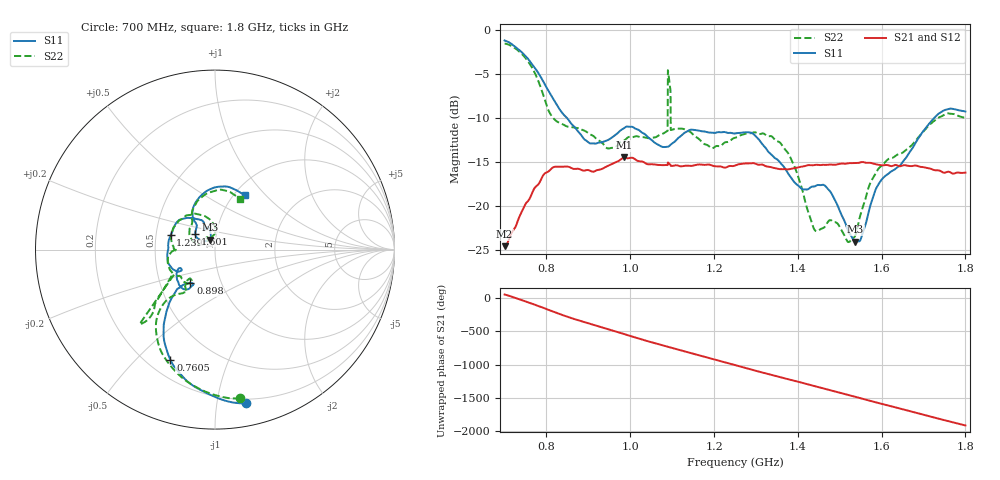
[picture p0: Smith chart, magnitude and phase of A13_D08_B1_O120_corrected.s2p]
! Created with skrf 1.9.0 (http://scikit-rf.org).
# Hz S RI R 50.0
!freq ReS11 ImS11 ReS21 ImS21 ReS12 ImS12 ReS22 ImS22
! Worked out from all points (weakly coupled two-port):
!   1601 points, 700 MHz to 1.8 GHz, reference 50 ohm
!   highest |S21| = -14.51 dB at 986 MHz (marker M1); lowest = -24.6 dB at 700 MHz (marker M2)
!   lowest |S11| = -24.1 dB at 1.537 GHz (marker M3), VSWR 1.13, Z = 46.9 + j5.22 ohm
!   |S11| at or under -10 dB: 848.9 MHz to 1.725 GHz (876.6 MHz wide, 68.1 % of centre)
!   |S22| runs from -24.2 to -1.5 dB; largest |S21 - S12| = 0.0037
!   S11 on the Smith chart (normalised r, x): 700 MHz: 0.17, -1.21; 760.5 MHz: 0.29, -0.64; 898 MHz: 0.71, -0.28; 1.239 GHz: 0.60, +0.10; 1.601 GHz: 0.79, +0.14; 1.8 GHz: 1.12, +0.77
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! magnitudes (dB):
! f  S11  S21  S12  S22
! 700 MHz  -1.2  -24.6  -24.4  -1.5
! 760.5 MHz  -3.6  -19.1  -19.0  -3.9
! 814.8 MHz  -7.7  -15.7  -15.7  -9.9
! 883.6 MHz  -12.0  -15.9  -15.8  -11.3
! 898 MHz  -12.7  -15.9  -16.0  -11.7
! 986 MHz  -11.1  -14.5  -14.6  -12.6
! 1.067 GHz  -13.1  -15.4  -15.3  -12.0
! 1.084 GHz  -13.3  -15.4  -15.4  -11.6
! 1.091 GHz  -13.3  -15.1  -15.1  -4.8
! 1.095 GHz  -13.1  -15.3  -15.4  -6.6
! 1.102 GHz  -12.8  -15.5  -15.4  -11.3
! 1.239 GHz  -11.7  -15.5  -15.6  -12.6
! 1.25 GHz  -11.8  -15.4  -15.4  -12.3
! 1.359 GHz  -15.2  -15.8  -15.8  -12.9
! 1.434 GHz  -17.8  -15.4  -15.4  -22.0
! 1.475 GHz  -18.2  -15.3  -15.3  -21.7
! 1.537 GHz  -24.1  -15.1  -15.1  -23.4
! 1.572 GHz  -20.2  -15.1  -15.1  -17.6
! 1.601 GHz  -17.0  -15.4  -15.4  -15.4
! 1.617 GHz  -16.3  -15.4  -15.4  -14.7
! 1.735 GHz  -9.5  -16.0  -16.0  -10.0
! 1.8 GHz  -9.3  -16.2  -16.2  -10.0
